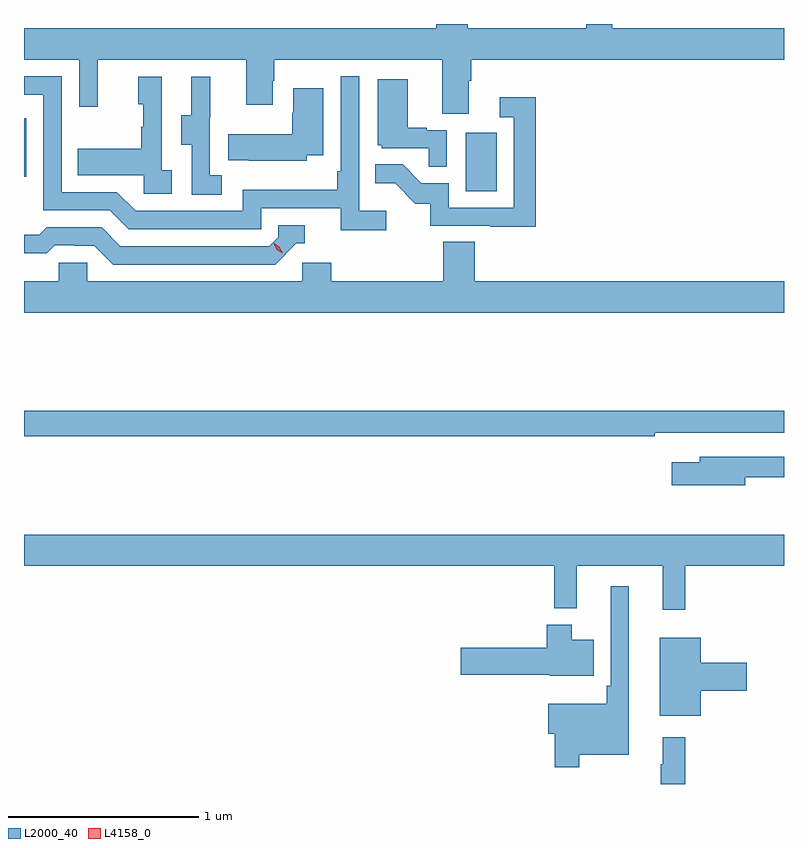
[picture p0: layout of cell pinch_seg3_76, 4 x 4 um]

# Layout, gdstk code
import gdstk
lib = gdstk.Library(unit=1e-6, precision=1e-09)
def R(c, l, rs):  # rectangles x0, y0, x1, y1
    for r in rs: c.add(gdstk.rectangle(r[:2], r[2:], *l))
def P(c, l, *ps):  # polygons
    for p in ps: c.add(gdstk.Polygon(p, *l))
L2000_40 = (2000, 40)
L4158_0 = (4158, 0)

pinch_seg3_76 = lib.new_cell('pinch_seg3_76')
R(pinch_seg3_76, L2000_40, [(1035.824,730.86,1035.988,731.167), (1033.5,730.935,1033.512,731.244)])
P(pinch_seg3_76, L2000_40, [(1035.841,731.44),(1035.853,731.44),(1035.853,731.552),(1037.5,731.552),(1037.5,731.716),(1036.595,731.716),(1036.595,731.739),(1036.459,731.739),(1036.459,731.716),(1035.836,731.716),(1035.836,731.739),(1035.671,731.739),(1035.671,731.716),(1033.5,731.716),(1033.5,731.552),(1033.791,731.552),(1033.791,731.304),(1033.889,731.304),(1033.889,731.552),(1034.669,731.552),(1034.669,731.313),(1034.809,731.313),(1034.809,731.441),(1034.817,731.441),(1034.817,731.552),(1035.701,731.552),(1035.701,731.266),(1035.841,731.266)],
  [(1035.406,730.756),(1035.264,730.756),(1035.264,731.464),(1035.168,731.464),(1035.168,730.963),(1035.148,730.963),(1035.148,730.867),(1034.652,730.867),(1034.652,730.755),(1034.088,730.755),(1033.989,730.854),(1033.698,730.854),(1033.698,731.463),(1033.5,731.463),(1033.5,731.367),(1033.602,731.367),(1033.602,730.758),(1033.952,730.758),(1034.051,730.659),(1034.748,730.659),(1034.748,730.77),(1035.167,730.77),(1035.167,730.654),(1035.406,730.654)],
  [(1034.542,730.943),(1034.478,730.943),(1034.478,731.247),(1034.48,731.247),(1034.48,731.461),(1034.381,731.461),(1034.381,731.259),(1034.327,731.259),(1034.327,731.104),(1034.382,731.104),(1034.382,730.84),(1034.542,730.84)],
  [(1034.278,730.97),(1034.226,730.97),(1034.226,731.461),(1034.102,731.461),(1034.102,731.316),(1034.128,731.316),(1034.128,731.198),(1034.118,731.198),(1034.118,731.083),(1033.783,731.083),(1033.783,730.943),(1034.13,730.943),(1034.13,730.845),(1034.278,730.845)],
  [(1035.726,731.181),(1035.62,731.181),(1035.62,731.194),(1035.52,731.194),(1035.52,731.449),(1035.362,731.449),(1035.362,731.1),(1035.384,731.1),(1035.384,731.085),(1035.631,731.085),(1035.631,730.987),(1035.726,730.987)],
  [(1034.989,731.048),(1035.076,731.048),(1035.076,731.401),(1034.918,731.401),(1034.918,731.271),(1034.911,731.271),(1034.911,731.158),(1034.575,731.158),(1034.575,731.021),(1034.683,731.021),(1034.683,731.018),(1034.989,731.018)],
  [(1036.193,731.353),(1036.005,731.353),(1036.005,731.247),(1036.077,731.247),(1036.077,730.773),(1035.735,730.773),(1035.735,730.902),(1035.591,730.902),(1035.493,731),(1035.349,731),(1035.349,730.901),(1035.453,730.901),(1035.56,730.794),(1035.637,730.794),(1035.637,730.677),(1035.955,730.677),(1035.955,730.672),(1036.193,730.672)],
  [(1034.934,730.584),(1034.977,730.584),(1034.977,730.68),(1034.838,730.68),(1034.838,730.617),(1034.79,730.569),(1034.007,730.569),(1033.908,730.668),(1033.619,730.668),(1033.58,730.629),(1033.5,730.629),(1033.5,730.533),(1033.619,730.533),(1033.661,730.575),(1033.764,730.575),(1033.764,730.572),(1033.871,730.572),(1033.97,730.473),(1034.823,730.473)],
  [(1037.5,730.384),(1035.872,730.384),(1035.872,730.592),(1035.707,730.592),(1035.707,730.384),(1035.116,730.384),(1035.116,730.482),(1034.964,730.482),(1034.964,730.384),(1033.833,730.384),(1033.833,730.482),(1033.683,730.482),(1033.683,730.384),(1033.5,730.384),(1033.5,730.22),(1037.5,730.22)],
  [(1036.82,729.588),(1037.5,729.588),(1037.5,729.704),(1033.5,729.704),(1033.5,729.568),(1036.82,729.568)],
  [(1037.296,729.354),(1037.5,729.354),(1037.5,729.462),(1037.057,729.462),(1037.057,729.433),(1036.908,729.433),(1036.908,729.311),(1037.296,729.311)],
  [(1036.979,728.888),(1037.5,728.888),(1037.5,729.052),(1033.5,729.052),(1033.5,728.888),(1036.291,728.888),(1036.291,728.663),(1036.409,728.663),(1036.409,728.888),(1036.862,728.888),(1036.862,728.655),(1036.979,728.655)],
  [(1036.423,727.892),(1036.684,727.892),(1036.684,728.779),(1036.587,728.779),(1036.587,728.257),(1036.567,728.257),(1036.567,728.161),(1036.26,728.161),(1036.26,728.003),(1036.294,728.003),(1036.294,727.827),(1036.423,727.827)],
  [(1036.498,728.497),(1036.384,728.497),(1036.384,728.578),(1036.25,728.578),(1036.25,728.457),(1035.798,728.457),(1035.798,728.315),(1036.266,728.315),(1036.266,728.309),(1036.498,728.309)],
  [(1037.062,728.231),(1037.305,728.231),(1037.305,728.378),(1037.062,728.378),(1037.062,728.509),(1036.847,728.509),(1036.847,728.099),(1037.062,728.099)],
  [(1036.979,727.984),(1036.862,727.984),(1036.862,727.844),(1036.851,727.844),(1036.851,727.739),(1036.979,727.739)])
P(pinch_seg3_76, L4158_0, [(1034.862,730.532),(1034.831,730.552),(1034.815,730.584),(1034.815,730.584),(1034.816,730.584),(1034.846,730.565),(1034.862,730.532),(1034.862,730.532)])

lib.write_gds('pinch_seg3_76.gds')
